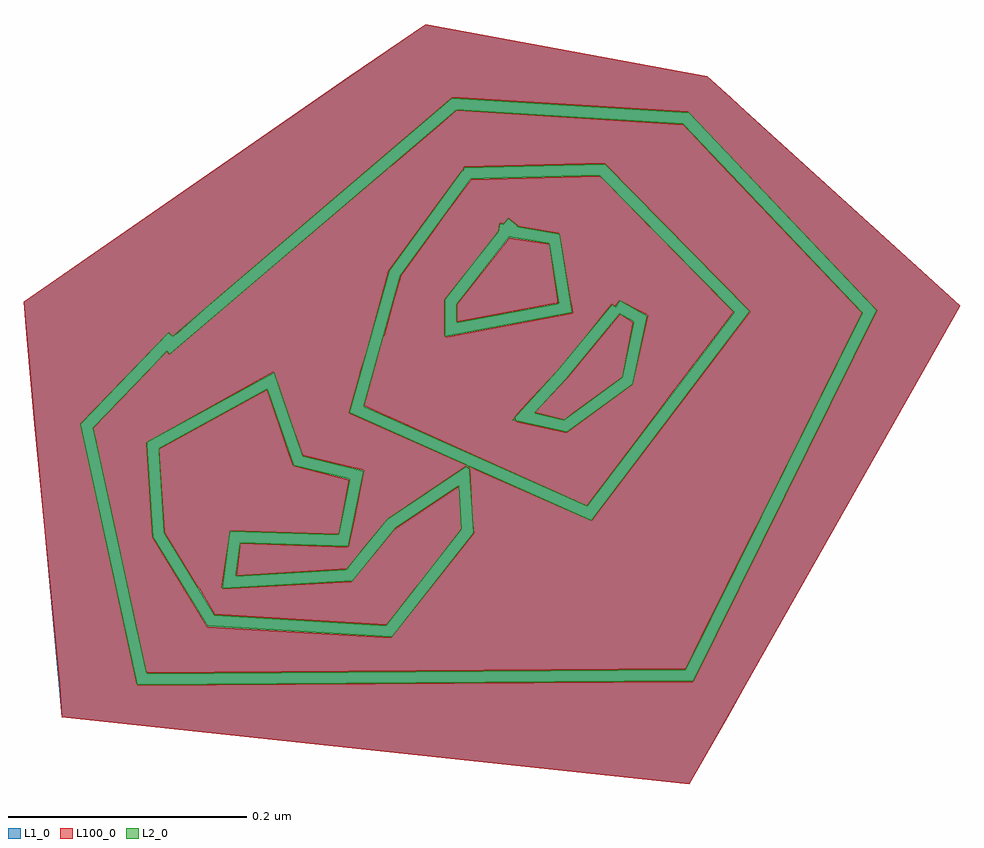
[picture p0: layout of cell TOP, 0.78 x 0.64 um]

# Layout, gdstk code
import gdstk
lib = gdstk.Library(unit=1e-6, precision=1e-09)
def R(c, l, rs):  # rectangles x0, y0, x1, y1
    for r in rs: c.add(gdstk.rectangle(r[:2], r[2:], *l))
def P(c, l, *ps):  # polygons
    for p in ps: c.add(gdstk.Polygon(p, *l))
L1_0 = (1, 0)
L2_0 = (2, 0)
L100_0 = (100, 0)

top = lib.new_cell('TOP')
P(top, L1_0, [(0.444,0.934),(-0.082,0.99),(-0.114,1.338),(0.223,1.571),(0.459,1.527),(0.671,1.335)])
R(top, L100_0, [(0.004,1.145,0.059,1.146), (-0.053,1.219,-0.011,1.22)])
P(top, L100_0, [(0.188,1.31),(0.196,1.34),(0.239,1.34),(0.239,1.31)],
  [(-0.056,1.232),(-0.011,1.279),(0.095,1.279),(0.011,1.232)],
  [(0.001,1.189),(0,1.201),(0.112,1.201),(0.159,1.189)],
  [(0.396,1.269),(0.409,1.327),(0.479,1.327),(0.435,1.269)],
  [(0.033,1.098),(0.032,1.099),(0.052,1.099),(0.053,1.098)],
  [(0.255,1.448),(0.254,1.449),(0.255,1.449)],
  [(0.443,1.497),(0.245,1.509),(0.479,1.509),(0.492,1.497)],
  [(-0.011,1.027),(-0.012,1.03),(0.441,1.03)],
  [(0.003,1.294),(0.006,1.297),(0.008,1.294)],
  [(0.161,1.104),(0.197,1.148),(0.253,1.148),(0.219,1.104)],
  [(0.601,1.331),(0.597,1.335),(0.671,1.335),(0.669,1.331)],
  [(0.235,1.487),(0.249,1.499),(0.439,1.487)],
  [(0.339,1.239),(0.314,1.245),(0.347,1.245)],
  [(-0.02,1.066),(-0.036,1.141),(-0.006,1.141),(0.04,1.066)],
  [(-0.082,0.99),(-0.084,1.017),(0.491,1.017),(0.476,0.99)],
  [(0.12,1.209),(0.107,1.245),(0.159,1.245),(0.24,1.209)],
  [(0.004,1.146),(0.001,1.189),(0.159,1.189),(0.151,1.146)],
  [(-0.114,1.338),(0.133,1.509),(0.245,1.509),(0.045,1.338)],
  [(-0.019,1.017),(0.447,1.02),(0.493,1.02),(0.491,1.017)],
  [(0.382,1.334),(0.379,1.336),(0.383,1.336)],
  [(0.249,1.321),(0.249,1.336),(0.329,1.336)],
  [(0.192,1.451),(0.196,1.454),(0.373,1.454),(0.255,1.451)],
  [(0.179,1.28),(0.187,1.309),(0.357,1.309),(0.333,1.28)],
  [(0.064,1.108),(0.065,1.114),(0.157,1.114)],
  [(0.261,1.441),(0.369,1.444),(0.372,1.441)],
  [(-0.012,1.03),(-0.018,1.057),(0.454,1.057),(0.441,1.03)],
  [(0.171,1.197),(0.158,1.2),(0.256,1.2),(0.252,1.197)],
  [(0.263,1.144),(0.262,1.155),(0.503,1.155),(0.497,1.144)],
  [(0.341,1.274),(0.342,1.275),(0.388,1.275),(0.387,1.274)],
  [(0.159,1.527),(0.223,1.571),(0.459,1.527)],
  [(-0.036,1.141),(-0.053,1.219),(-0.011,1.219),(-0.006,1.141)],
  [(0.3,1.401),(0.3,1.402),(0.41,1.402),(0.411,1.401)],
  [(0.409,1.327),(0.403,1.33),(0.481,1.33),(0.479,1.327)],
  [(-0.053,1.22),(-0.056,1.232),(0.011,1.232),(-0.011,1.22)],
  [(0.187,1.309),(0.188,1.31),(0.239,1.31),(0.24,1.309)],
  [(0.229,1.397),(0.234,1.404),(0.285,1.404),(0.284,1.397)],
  [(0.38,1.321),(0.386,1.328),(0.397,1.321)],
  [(0.011,1.309),(0.007,1.312),(0.015,1.312)],
  [(0.065,1.114),(0.067,1.133),(0.172,1.133),(0.157,1.114)],
  [(0.346,1.329),(0.345,1.336),(0.379,1.336),(0.373,1.329)],
  [(0.163,1.156),(0.171,1.197),(0.252,1.197),(0.191,1.156)],
  [(0.194,1.057),(0.263,1.144),(0.497,1.144),(0.454,1.057)],
  [(0.158,1.133),(0.163,1.156),(0.191,1.156),(0.172,1.133)],
  [(0.19,1.067),(0.046,1.076),(0.197,1.076)],
  [(0.249,1.336),(0.25,1.337),(0.334,1.337),(0.329,1.336)],
  [(0.314,1.245),(0.341,1.274),(0.387,1.274),(0.347,1.245)],
  [(-0.084,1.017),(-0.105,1.236),(-0.066,1.236),(-0.019,1.017)],
  [(-0.018,1.057),(-0.02,1.066),(0.04,1.066),(0.194,1.057)],
  [(0.196,1.454),(0.235,1.487),(0.439,1.487),(0.47,1.454)],
  [(0.24,1.309),(0.346,1.329),(0.373,1.329),(0.357,1.309)],
  [(0.495,1.33),(0.373,1.454),(0.47,1.454),(0.588,1.33)],
  [(0.362,1.155),(0.494,1.329),(0.589,1.329),(0.503,1.155)],
  [(0.107,1.245),(0.096,1.278),(0.168,1.278),(0.159,1.245)],
  [(0.22,1.229),(0.2,1.238),(0.299,1.238),(0.341,1.229)],
  [(0.15,1.143),(0.059,1.146),(0.151,1.146)],
  [(0.133,1.509),(0.159,1.527),(0.459,1.527),(0.479,1.509)],
  [(0.2,1.238),(0.191,1.242),(0.298,1.242),(0.299,1.238)],
  [(0.288,1.403),(0.285,1.404),(0.289,1.404)],
  [(0.197,1.148),(0.251,1.184),(0.253,1.148)],
  [(0.447,1.02),(0.601,1.331),(0.669,1.331),(0.493,1.02)],
  [(0.494,1.329),(0.495,1.33),(0.588,1.33),(0.589,1.329)],
  [(-0.011,1.279),(0.003,1.294),(0.173,1.294),(0.168,1.279)],
  [(0.341,1.229),(0.396,1.269),(0.435,1.269),(0.405,1.229)],
  [(0.234,1.404),(0.237,1.408),(0.292,1.408),(0.289,1.404)],
  [(-0.105,1.236),(-0.112,1.312),(0.007,1.312),(-0.066,1.236)],
  [(0.191,1.242),(0.171,1.251),(0.306,1.251),(0.298,1.242)],
  [(0.237,1.408),(0.261,1.441),(0.372,1.441),(0.404,1.408)],
  [(0.046,1.076),(0.033,1.098),(0.214,1.098),(0.197,1.076)],
  [(0.25,1.337),(0.289,1.387),(0.327,1.387),(0.334,1.337)],
  [(0.09,1.364),(0.19,1.449),(0.254,1.449),(0.192,1.364)],
  [(0.096,1.278),(0.095,1.279),(0.168,1.279),(0.168,1.278)],
  [(0.289,1.387),(0.293,1.392),(0.327,1.387)],
  [(0,1.201),(-0.001,1.215),(0.107,1.215),(0.112,1.201)],
  [(0.26,1.198),(0.256,1.2),(0.261,1.2),(0.265,1.198)],
  [(0.342,1.275),(0.38,1.321),(0.397,1.321),(0.388,1.275)],
  [(0.345,1.336),(0.344,1.339),(0.385,1.339),(0.383,1.336)],
  [(-0.112,1.312),(-0.114,1.338),(0.045,1.338),(0.015,1.312)],
  [(0.202,1.36),(0.229,1.397),(0.284,1.397),(0.255,1.36)],
  [(0.196,1.34),(0.202,1.36),(0.255,1.36),(0.239,1.34)],
  [(0.171,1.251),(0.179,1.28),(0.333,1.28),(0.306,1.251)],
  [(0.358,1.167),(0.22,1.229),(0.405,1.229)],
  [(0.597,1.335),(0.443,1.497),(0.492,1.497),(0.671,1.335)],
  [(0.3,1.402),(0.292,1.408),(0.404,1.408),(0.41,1.402)],
  [(0.158,1.2),(0.12,1.209),(0.24,1.209),(0.261,1.2)],
  [(0.262,1.155),(0.26,1.198),(0.265,1.198),(0.362,1.155)],
  [(0.032,1.099),(0.004,1.145),(0.059,1.145),(0.052,1.099)],
  [(0.344,1.339),(0.335,1.395),(0.417,1.395),(0.472,1.339)],
  [(0.067,1.133),(0.067,1.136),(0.158,1.133)],
  [(0.008,1.294),(0.09,1.364),(0.192,1.364),(0.173,1.294)],
  [(0.444,0.934),(-0.082,0.99),(0.476,0.99)],
  [(-0.001,1.215),(0.09,1.265),(0.107,1.215)],
  [(0.19,1.449),(0.192,1.451),(0.255,1.451),(0.255,1.449)],
  [(0.335,1.395),(0.3,1.401),(0.411,1.401),(0.417,1.395)],
  [(0.403,1.33),(0.385,1.339),(0.472,1.339),(0.481,1.33)],
  [(0.053,1.098),(0.161,1.104),(0.219,1.104),(0.214,1.098)])
top.add(gdstk.FlexPath([(0.255,1.446),(0.371,1.449),(0.488,1.33),(0.36,1.161),(0.165,1.248),(0.197,1.362),(0.258,1.446)], 0.01, ends="flush", simple_path=True, layer=2, datatype=0))  # L2_0
top.add(gdstk.FlexPath([(-0.009,1.216),(0.093,1.272),(0.116,1.205),(0.165,1.193),(0.154,1.138),(0.063,1.141),(0.058,1.103),(0.159,1.109),(0.194,1.152),(0.255,1.193),(0.258,1.146),(0.192,1.062),(0.043,1.071),(-0.001,1.143),(-0.006,1.219)], 0.01, ends="flush", simple_path=True, layer=2, datatype=0))  # L2_0
top.add(gdstk.FlexPath([(0.383,1.335),(0.403,1.324),(0.392,1.272),(0.34,1.234),(0.305,1.242),(0.337,1.277),(0.383,1.333)], 0.01, ends="flush", simple_path=True, layer=2, datatype=0))  # L2_0
top.add(gdstk.FlexPath([(0.284,1.399),(0.331,1.391),(0.34,1.333),(0.244,1.315),(0.244,1.338),(0.296,1.405)], 0.01, ends="flush", simple_path=True, layer=2, datatype=0))  # L2_0
top.add(gdstk.FlexPath([(0.005,1.298),(0.247,1.504),(0.441,1.492),(0.595,1.33),(0.444,1.025),(-0.015,1.022),(-0.061,1.234),(0.011,1.309)], 0.01, ends="flush", simple_path=True, layer=2, datatype=0))  # L2_0

lib.write_gds('TOP.gds')
